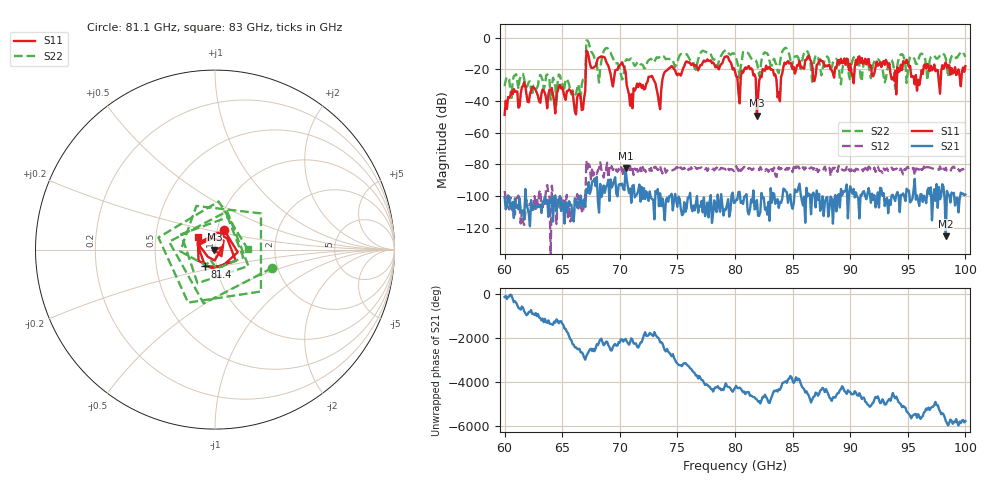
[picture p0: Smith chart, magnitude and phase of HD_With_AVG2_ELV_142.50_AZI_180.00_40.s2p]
! 11/25/2026 10:30:10 AM
! C:\ANRITSUVNA\TEMP\TEMP.S2P
! CHANNEL.1
! TR.MEASUREMENT
! RAW.DATA
# HZ S RI R 50.0
! FREQ.HZ  S11RE  S11IM  S21RE  S21IM  S12RE  S12IM  S22RE  S22IM
!; PortSelection: Port_12
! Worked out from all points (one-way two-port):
!   401 points, 60 GHz to 100 GHz, reference 50 ohm
!   highest |S21| = -82.30 dB at 70.5 GHz (marker M1); lowest = -125.4 dB at 98.3 GHz (marker M2)
!   lowest |S11| = -49.3 dB at 81.9 GHz (marker M3), VSWR 1.01, Z = 49.7 - j0.0187 ohm
!   |S11| at or under -10 dB: start of sweep to 67.09 GHz; 67.24 GHz to end of sweep
!   |S22| runs from -42.9 to -1.7 dB; largest |S21 - S12| = 0.00012
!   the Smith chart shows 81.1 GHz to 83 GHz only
!   S11 on the Smith chart (normalised r, x): 81.1 GHz: 1.08, +0.24; 81.4 GHz: 0.88, -0.17; 83 GHz: 0.82, +0.12
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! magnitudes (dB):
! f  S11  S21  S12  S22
! 60 GHz  -48.7  -100.6  -96.8  -30.5
! 61.6 GHz  -30.6  -108.9  -116.3  -22.8
! 66.7 GHz  -45.7  -103.9  -109.4  -29.5
! 67.3 GHz  -12.1  -91.2  -79.7  -3.1
! 68.1 GHz  -13.0  -103.5  -83.9  -22.5
! 68.8 GHz  -14.7  -94.1  -83.6  -6.6
! 70.5 GHz  -21.4  -82.3  -82.8  -14.5
! 70.9 GHz  -42.9  -95.2  -81.1  -13.5
! 72.7 GHz  -24.4  -101.0  -82.3  -13.3
! 73.4 GHz  -41.3  -106.4  -83.1  -12.6
! 74.4 GHz  -18.6  -100.0  -83.6  -13.4
! 80 GHz  -21.2  -104.0  -82.6  -11.0
! 81.1 GHz  -18.4  -109.7  -83.0  -9.5
! 81.4 GHz  -19.3  -102.2  -83.1  -13.0
! 81.9 GHz  -49.3  -102.6  -83.0  -15.7
! 83 GHz  -18.4  -115.7  -82.4  -14.8
! 83.8 GHz  -34.4  -107.5  -81.7  -22.3
! 84.5 GHz  -15.5  -97.6  -82.3  -7.0
! 86.7 GHz  -17.5  -99.0  -82.2  -27.9
! 93.4 GHz  -16.4  -102.7  -82.8  -15.6
! 98.3 GHz  -15.5  -125.4  -82.2  -13.3
! 100 GHz  -17.9  -99.1  -82.7  -12.1
